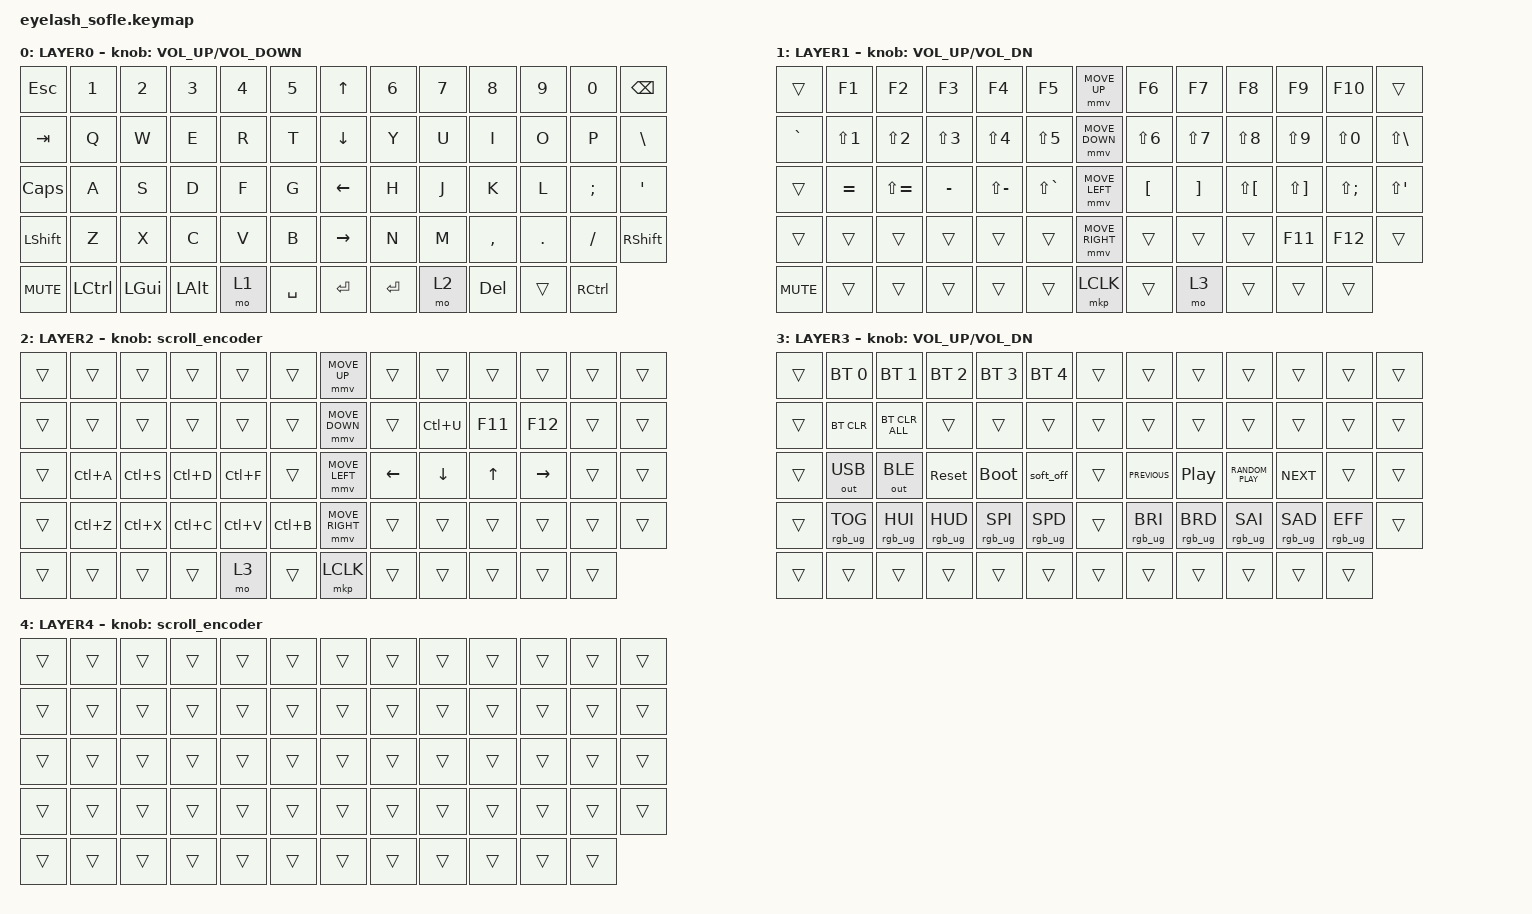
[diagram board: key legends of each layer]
#define ZMK_POINTING_DEFAULT_MOVE_VAL 1200  // 600
#define ZMK_POINTING_DEFAULT_SCRL_VAL 25   // 10

#include <input/processors.dtsi>
#include <zephyr/dt-bindings/input/input-event-codes.h>
#include <behaviors.dtsi>
#include <dt-bindings/zmk/bt.h>
#include <dt-bindings/zmk/keys.h>
#include <dt-bindings/zmk/outputs.h>
#include <dt-bindings/zmk/pointing.h>
#include <dt-bindings/zmk/rgb.h>

&mmv_input_listener { input-processors = <&zip_xy_scaler 2 1>; };

&msc_input_listener { input-processors = <&zip_scroll_scaler 2 1>; };

&msc {
    acceleration-exponent = <1>;      // 0
    time-to-max-speed-ms = <100>;       // 300
    delay-ms = <0>;                   // 0
};

&mmv {
    time-to-max-speed-ms = <500>;
    acceleration-exponent = <1>;
    trigger-period-ms = <16>;
};

&soft_off { hold-time-ms = <2000>; };

/ {
    scroll_encoder: scroll_encoder {
        compatible = "zmk,behavior-sensor-rotate";
        #sensor-binding-cells = <0>;
        bindings = <&msc SCRL_DOWN>, <&msc SCRL_UP>;

        tap-ms = <100>;
    };

    behaviors {
    };

    combos {
        compatible = "zmk,combos";

        softoff {
            bindings = <&soft_off>;
            key-positions = <14 28 40>;
        };
    };

    macros {
        SHIFT_MCLK: SHIFT_MCLK {
            compatible = "zmk,behavior-macro";
            #binding-cells = <0>;
            bindings =
                <&macro_press>,
                <&kp LEFT_SHIFT>,
                <&macro_press>,
                <&mkp MB3>,
                <&macro_pause_for_release>,
                <&macro_release>,
                <&kp LEFT_SHIFT &mkp MB3>;

            label = "SHIFT_MCLK";
        };
    };

    keymap {
        compatible = "zmk,keymap";

        layer0 {
            bindings = <
&kp ESC     &kp N1     &kp N2        &kp N3        &kp N4  &kp N5       &kp UP_ARROW     &kp N6   &kp N7  &kp N8     &kp N9   &kp N0             &kp BACKSPACE
&kp TAB     &kp Q      &kp W         &kp E         &kp R   &kp T        &kp DOWN_ARROW   &kp Y    &kp U   &kp I      &kp O    &kp P              &kp BSLH
&kp CAPS    &kp A      &kp S         &kp D         &kp F   &kp G        &kp LEFT_ARROW   &kp H    &kp J   &kp K      &kp L    &kp SEMI           &kp APOS
&kp LSHFT   &kp Z      &kp X         &kp C         &kp V   &kp B        &kp RIGHT_ARROW  &kp N    &kp M   &kp COMMA  &kp DOT  &kp FSLH           &kp RIGHT_SHIFT
&kp C_MUTE  &kp LCTRL  &kp LEFT_GUI  &kp LEFT_ALT  &mo 1   &kp SPACE    &kp ENTER        &kp RET  &mo 2   &kp DEL    &trans   &kp RIGHT_CONTROL
            >;

            sensor-bindings = <&inc_dec_kp C_VOLUME_UP C_VOLUME_DOWN>;
            display-name = "LAYER0";
        };

        layer_1 {
            bindings = <
&trans      &kp F1            &kp F2            &kp F3            &kp F4            &kp F5              &mmv MOVE_UP     &kp F6            &kp F7             &kp F8                &kp F9                 &kp F10            &trans
&kp GRAVE   &kp LS(NUMBER_1)  &kp LS(NUMBER_2)  &kp LS(NUMBER_3)  &kp LS(NUMBER_4)  &kp LS(NUMBER_5)    &mmv MOVE_DOWN   &kp LS(NUMBER_6)  &kp LS(NUMBER_7)   &kp LS(NUMBER_8)      &kp LS(NUMBER_9)       &kp LS(NUMBER_0)   &kp LS(BACKSLASH)
&trans      &kp EQUAL         &kp LS(EQUAL)     &kp MINUS         &kp LS(MINUS)     &kp LS(GRAVE)       &mmv MOVE_LEFT   &kp LEFT_BRACKET  &kp RIGHT_BRACKET  &kp LS(LEFT_BRACKET)  &kp LS(RIGHT_BRACKET)  &kp LS(SEMICOLON)  &kp LS(SINGLE_QUOTE)
&trans      &trans            &trans            &trans            &trans            &trans              &mmv MOVE_RIGHT  &trans            &trans             &trans                &kp F11                &kp F12            &trans
&kp C_MUTE  &trans            &trans            &trans            &trans            &trans              &mkp LCLK        &trans            &mo 3              &trans                &trans                 &trans
            >;

            sensor-bindings = <&inc_dec_kp C_VOLUME_UP C_VOL_DN>;
            display-name = "LAYER1";
        };

        layer_2 {
            bindings = <
&trans  &trans     &trans     &trans     &trans     &trans       &mmv MOVE_UP     &trans    &trans     &trans   &trans     &trans  &trans
&trans  &trans     &trans     &trans     &trans     &trans       &mmv MOVE_DOWN   &trans    &kp LC(U)  &kp F11  &kp F12    &trans  &trans
&trans  &kp LC(A)  &kp LC(S)  &kp LC(D)  &kp LC(F)  &trans       &mmv MOVE_LEFT   &kp LEFT  &kp DOWN   &kp UP   &kp RIGHT  &trans  &trans
&trans  &kp LC(Z)  &kp LC(X)  &kp LC(C)  &kp LC(V)  &kp LC(B)    &mmv MOVE_RIGHT  &trans    &trans     &trans   &trans     &trans  &trans
&trans  &trans     &trans     &trans     &mo 3      &trans       &mkp LCLK        &trans    &trans     &trans   &trans     &trans
            >;

            display-name = "LAYER2";
            sensor-bindings = <&scroll_encoder>;
        };

        layer_3 {
            bindings = <
&trans  &bt BT_SEL 0     &bt BT_SEL 1     &bt BT_SEL 2     &bt BT_SEL 3     &bt BT_SEL 4       &trans  &trans           &trans            &trans             &trans           &trans           &trans
&trans  &bt BT_CLR       &bt BT_CLR_ALL   &trans           &trans           &trans             &trans  &trans           &trans            &trans             &trans           &trans           &trans
&trans  &out OUT_USB     &out OUT_BLE     &sys_reset       &bootloader      &soft_off          &trans  &kp C_PREVIOUS   &kp C_PLAY_PAUSE  &kp C_RANDOM_PLAY  &kp C_NEXT       &trans           &trans
&trans  &rgb_ug RGB_TOG  &rgb_ug RGB_HUI  &rgb_ug RGB_HUD  &rgb_ug RGB_SPI  &rgb_ug RGB_SPD    &trans  &rgb_ug RGB_BRI  &rgb_ug RGB_BRD   &rgb_ug RGB_SAI    &rgb_ug RGB_SAD  &rgb_ug RGB_EFF  &trans
&trans  &trans           &trans           &trans           &trans           &trans             &trans  &trans           &trans            &trans             &trans           &trans
            >;

            display-name = "LAYER3";
            sensor-bindings = <&inc_dec_kp C_VOLUME_UP C_VOL_DN>;
        };

        layer_4 {
            bindings = <
&trans  &trans  &trans  &trans  &trans  &trans    &trans  &trans  &trans  &trans  &trans  &trans  &trans
&trans  &trans  &trans  &trans  &trans  &trans    &trans  &trans  &trans  &trans  &trans  &trans  &trans
&trans  &trans  &trans  &trans  &trans  &trans    &trans  &trans  &trans  &trans  &trans  &trans  &trans
&trans  &trans  &trans  &trans  &trans  &trans    &trans  &trans  &trans  &trans  &trans  &trans  &trans
&trans  &trans  &trans  &trans  &trans  &trans    &trans  &trans  &trans  &trans  &trans  &trans
            >;

            display-name = "LAYER4";
            sensor-bindings = <&scroll_encoder>;
        };
    };
};
